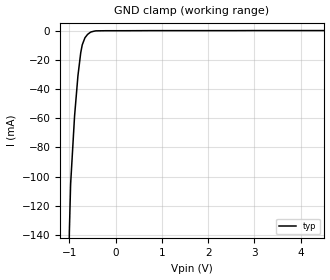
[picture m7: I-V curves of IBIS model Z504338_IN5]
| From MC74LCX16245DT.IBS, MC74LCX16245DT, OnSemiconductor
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| (C) COPYRIGHT 1993-2000
| MENTOR GRAPHICS CORPORATION
| ICX STANDARD LIBRARY, ICX PROJECT MODELING,
| ICX CUSTOM MODELING, ICX VENDOR MODEL
| ALL RIGHTS RESERVED.
| THE FOLLOWING ARE TRADEMARKS OR SERVICE MARKS OF
| MENTOR GRAPHICS CORPORATION:ICX (R), ICX STANDARD
| LIBRARY(R), ICX PROJECT MODELING(R), ICX CUSTOM
| MODELING(R), qualityIBIS(TM), MODELVIEWER(TM),
| AND MODELEDITOR(TM)
| ALL COPIES OF SOFTWARE, INCLUDING BUT NOT LIMITED TO
| ANY MODIFICATIONS, ENHANCEMENTS OR DERIVATIVE WORKS,
| MUST CONTAIN ALL MENTOR GRAPHICS CORPORATION'S
| NOTICES AND LEGENDS, INCLUDING THOSE EMBEDDED IN
| SOFTWARE AND THOSE AFFIXED TO SOFTWARE MEDIUM
| AND CONTAINER, AS RECEIVED FROM MENTOR GRAPHICS
| CORPORATION.
| Model Application Version 1.89 2/18/99.
[Model] Z504338_IN5
Model_type Input
Vinl = 800.0mV
Vinh = 2.000V
C_comp 4.000pF NA NA
| variable typ   min   max
[Voltage Range] 3.300V NA NA
[GND Clamp Reference] 0.000V NA NA
[POWER Clamp Reference] 3.300V NA NA
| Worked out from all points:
|   GND clamp passes 1 mA (typ) near -0.55 V on its own axis
[GND Clamp]
-3.3V     -5.983A    NA         NA
-1.001V   -138.2mA   NA         NA
-974mV    -105.4mA   NA         NA
-888.2mV  -58.39mA   NA         NA
-815.4mV  -30.76mA   NA         NA
-755mV    -14.95mA   NA         NA
-722.5mV  -9.56mA    NA         NA
-663.9mV  -4.688mA   NA         NA
-607.2mV  -2.369mA   NA         NA
-532mV    -694.8uA   NA         NA
-214.8mV  161.9uA    NA         NA
6.6V      270.8uA    NA         NA
[POWER Clamp]
-3.3V     0A         NA         NA
6.6V      0A         NA         NA
